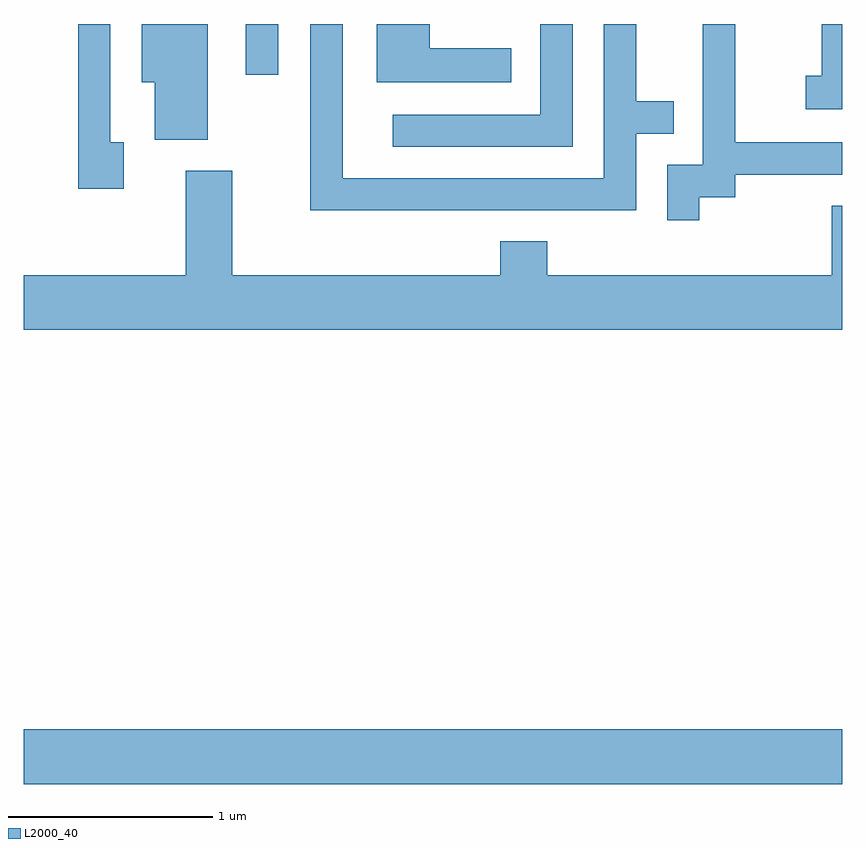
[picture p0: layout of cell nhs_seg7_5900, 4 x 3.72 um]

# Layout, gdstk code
import gdstk
lib = gdstk.Library(unit=1e-6, precision=1e-09)
def R(c, l, rs):  # rectangles x0, y0, x1, y1
    for r in rs: c.add(gdstk.rectangle(r[:2], r[2:], *l))
def P(c, l, *ps):  # polygons
    for p in ps: c.add(gdstk.Polygon(p, *l))
L2000_40 = (2000, 40)

nhs_seg7_5900 = lib.new_cell('nhs_seg7_5900')
R(nhs_seg7_5900, L2000_40, [(365.611,1716.536,369.611,1716.804), (366.696,1720.003,366.854,1720.252)])
P(nhs_seg7_5900, L2000_40, [(368.604,1719.716),(368.788,1719.716),(368.788,1719.874),(368.604,1719.874),(368.604,1720.252),(368.446,1720.252),(368.446,1719.499),(367.169,1719.499),(367.169,1720.252),(367.011,1720.252),(367.011,1719.341),(368.604,1719.341)],
  [(368.914,1719.406),(369.089,1719.406),(369.089,1719.516),(369.611,1719.516),(369.611,1719.674),(369.089,1719.674),(369.089,1720.252),(368.931,1720.252),(368.931,1719.564),(368.756,1719.564),(368.756,1719.293),(368.914,1719.293)],
  [(369.611,1720.252),(369.511,1720.252),(369.511,1719.999),(369.433,1719.999),(369.433,1719.836),(369.611,1719.836)],
  [(366.509,1720.252),(366.186,1720.252),(366.186,1719.966),(366.251,1719.966),(366.251,1719.686),(366.509,1719.686)],
  [(368.294,1720.252),(368.136,1720.252),(368.136,1719.809),(367.413,1719.809),(367.413,1719.651),(368.294,1719.651)],
  [(366.099,1719.674),(366.034,1719.674),(366.034,1720.252),(365.876,1720.252),(365.876,1719.446),(366.099,1719.446)],
  [(367.993,1720.134),(367.594,1720.134),(367.594,1720.252),(367.336,1720.252),(367.336,1719.966),(367.993,1719.966)],
  [(369.611,1719.364),(369.561,1719.364),(369.561,1719.024),(368.169,1719.024),(368.169,1719.189),(367.941,1719.189),(367.941,1719.024),(366.629,1719.024),(366.629,1719.534),(366.401,1719.534),(366.401,1719.024),(365.611,1719.024),(365.611,1718.756),(369.611,1718.756)])

lib.write_gds('nhs_seg7_5900.gds')
